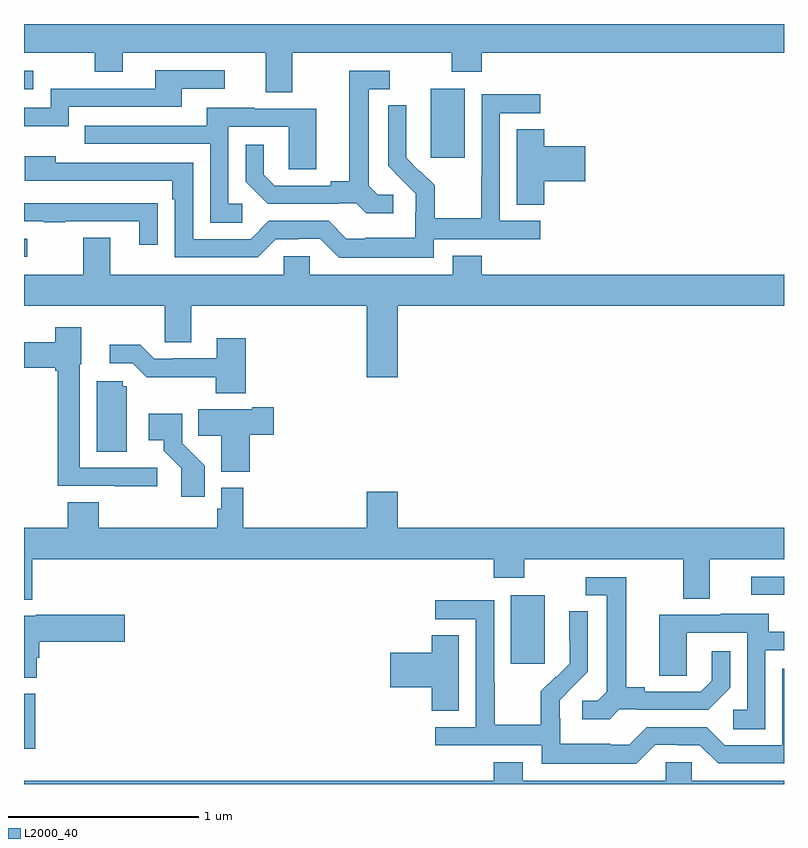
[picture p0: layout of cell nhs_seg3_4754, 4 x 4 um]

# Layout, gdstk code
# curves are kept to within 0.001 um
import gdstk
lib = gdstk.Library(unit=1e-6, precision=1e-09)
def R(c, l, rs):  # rectangles x0, y0, x1, y1
    for r in rs: c.add(gdstk.rectangle(r[:2], r[2:], *l))
def P(c, l, *ps):  # polygons
    for p in ps: c.add(gdstk.Polygon(p, *l))
L2000_40 = (2000, 40)

nhs_seg3_4754 = lib.new_cell('nhs_seg3_4754')
R(nhs_seg3_4754, L2000_40, [(367,698.586,367.058,698.875), (369.563,699.033,369.742,699.394), (370.827,699.396,371,699.492), (367,701.175,367.018,701.271), (369.14,701.697,369.319,702.058), (367,702.057,367.048,702.153)])
P(nhs_seg3_4754, L2000_40, [(368.413,702.248),(369.25,702.248),(369.25,702.149),(369.41,702.149),(369.41,702.248),(371,702.248),(371,702.4),(367,702.4),(367,702.248),(367.372,702.248),(367.372,702.149),(367.519,702.149),(367.519,702.248),(368.273,702.248),(368.273,702.04),(368.413,702.04)],
  [(367.236,701.964),(367.831,701.964),(367.831,702.06),(368.056,702.06),(368.056,702.156),(367.691,702.156),(367.691,702.06),(367.14,702.06),(367.14,701.958),(367,701.958),(367,701.861),(367.236,701.861)],
  [(368.944,701.502),(368.862,701.502),(368.815,701.549),(368.815,702.057),(368.926,702.057),(368.926,702.153),(368.711,702.153),(368.711,701.573),(368.615,701.573),(368.615,701.55),(368.32,701.55),(368.263,701.607),(368.263,701.764),(368.166,701.764),(368.166,701.57),(368.282,701.454),(368.654,701.454),(368.654,701.457),(368.748,701.457),(368.8,701.405),(368.944,701.405)],
  [(369.156,701.268),(369.718,701.268),(369.718,701.364),(369.504,701.364),(369.504,701.931),(369.718,701.931),(369.718,702.03),(369.408,702.03),(369.408,701.6),(369.406,701.6),(369.406,701.377),(369.161,701.377),(369.161,701.551),(369.084,701.628),(369.081,701.625),(369.011,701.696),(369.012,701.972),(368.916,701.972),(368.916,701.654),(369.062,701.506),(369.062,701.409),(369.06,701.409),(369.06,701.275),(368.797,701.275),(368.797,701.271),(368.697,701.271),(368.604,701.364),(368.289,701.364),(368.193,701.268),(367.89,701.268),(367.89,701.67),(367.166,701.67),(367.166,701.704),(367.005,701.704),(367.005,701.574),(367.781,701.574),(367.781,701.477),(367.794,701.477),(367.794,701.172),(368.229,701.172),(368.325,701.268),(368.444,701.268),(368.444,701.271),(368.559,701.271),(368.659,701.171),(369.156,701.171)],
  [(368.149,701.454),(368.076,701.454),(368.076,701.859),(368.394,701.859),(368.394,701.635),(368.539,701.635),(368.539,701.955),(368.215,701.955),(368.215,701.959),(367.961,701.959),(367.961,701.865),(367.321,701.865),(367.321,701.769),(367.98,701.769),(367.98,701.353),(368.149,701.353)],
  [(369.737,701.573),(369.955,701.573),(369.955,701.756),(369.737,701.756),(369.737,701.846),(369.593,701.846),(369.593,701.449),(369.737,701.449)],
  [(367.703,701.456),(367.601,701.456),(367.601,701.457),(367,701.457),(367,701.361),(367.105,701.361),(367.105,701.356),(367.217,701.356),(367.217,701.361),(367.607,701.361),(367.607,701.238),(367.703,701.238)],
  [(368.968,700.916),(371,700.916),(371,701.08),(369.41,701.08),(369.41,701.179),(369.257,701.179),(369.257,701.08),(368.505,701.08),(368.505,701.178),(368.367,701.178),(368.367,701.08),(367.453,701.08),(367.453,701.275),(367.313,701.275),(367.313,701.08),(367,701.08),(367,700.916),(367.74,700.916),(367.74,700.726),(367.879,700.726),(367.879,700.916),(368.804,700.916),(368.804,700.542),(368.968,700.542)],
  [(367.702,700.065),(367.293,700.065),(367.293,700.608),(367.3,700.608),(367.3,700.804),(367.164,700.804),(367.164,700.726),(367,700.726),(367,700.592),(367.164,700.592),(367.164,700.574),(367.177,700.574),(367.177,699.969),(367.477,699.969),(367.477,699.967),(367.702,699.967)],
  [(368.167,700.747),(368.015,700.747),(368.015,700.641),(367.786,700.641),(367.786,700.638),(367.686,700.638),(367.613,700.711),(367.452,700.711),(367.452,700.614),(367.572,700.614),(367.645,700.541),(368.008,700.542),(368.008,700.457),(368.167,700.457)],
  [(367.54,700.494),(367.521,700.494),(367.521,700.521),(367.382,700.521),(367.382,700.15),(367.54,700.15)],
  [(368.189,700.238),(368.314,700.238),(368.314,700.384),(368.201,700.384),(368.201,700.372),(367.918,700.372),(367.918,700.234),(368.039,700.234),(368.039,700.043),(368.189,700.043)],
  [(367.952,700.074),(367.833,700.193),(367.833,700.348),(367.656,700.348),(367.656,700.208),(367.736,700.208),(367.736,700.153),(367.827,700.063),(367.827,699.912),(367.952,699.912)],
  [(367.043,699.584),(369.473,699.584),(369.473,699.485),(369.633,699.485),(369.633,699.584),(370.469,699.584),(370.469,699.376),(370.609,699.376),(370.609,699.584),(371,699.584),(371,699.748),(368.968,699.748),(368.968,699.937),(368.804,699.937),(368.804,699.748),(368.153,699.748),(368.153,699.958),(368.037,699.958),(368.037,699.849),(368.017,699.849),(368.017,699.748),(367.394,699.748),(367.394,699.884),(367.229,699.884),(367.229,699.748),(367,699.748),(367,699.371),(367.043,699.371)],
  [(370.134,698.793),(370.228,698.793),(370.228,698.79),(370.6,698.79),(370.716,698.906),(370.716,699.1),(370.619,699.1),(370.619,698.943),(370.562,698.886),(370.267,698.886),(370.267,698.909),(370.171,698.909),(370.171,699.489),(369.957,699.489),(369.957,699.393),(370.067,699.393),(370.067,698.885),(370.02,698.838),(369.939,698.838),(369.939,698.741),(370.082,698.741)],
  [(370.323,698.607),(370.439,698.607),(370.439,698.604),(370.557,698.604),(370.653,698.508),(371,698.508),(371,699.006),(370.992,699.006),(370.992,698.604),(370.689,698.604),(370.593,698.7),(370.278,698.7),(370.185,698.607),(370.085,698.607),(370.085,698.611),(369.822,698.611),(369.822,698.745),(369.82,698.745),(369.82,698.842),(369.966,698.99),(369.966,699.308),(369.87,699.308),(369.87,699.154),(369.872,699.154),(369.872,699.032),(369.801,698.961),(369.798,698.964),(369.721,698.887),(369.721,698.713),(369.477,698.713),(369.477,698.936),(369.474,698.936),(369.474,699.366),(369.165,699.366),(369.165,699.267),(369.378,699.267),(369.378,698.7),(369.165,698.7),(369.165,698.604),(369.726,698.604),(369.726,698.507),(370.223,698.507)],
  [(370.902,699.105),(371,699.105),(371,699.201),(370.921,699.201),(370.921,699.295),(370.667,699.295),(370.667,699.291),(370.343,699.291),(370.343,698.971),(370.488,698.971),(370.488,699.195),(370.806,699.195),(370.806,698.79),(370.734,698.79),(370.734,698.689),(370.902,698.689)],
  [(367.066,699.065),(367.079,699.065),(367.079,699.149),(367.531,699.149),(367.531,699.291),(367.062,699.291),(367.062,699.286),(367,699.286),(367,698.96),(367.066,698.96)],
  [(369.289,699.182),(369.146,699.182),(369.146,699.092),(368.928,699.092),(368.928,698.909),(369.146,698.909),(369.146,698.785),(369.289,698.785)],
  [(371,698.416),(370.515,698.416),(370.515,698.514),(370.377,698.514),(370.377,698.416),(369.625,698.416),(369.625,698.515),(369.473,698.515),(369.473,698.416),(367,698.416),(367,698.4),(371,698.4)])

lib.write_gds('nhs_seg3_4754.gds')
